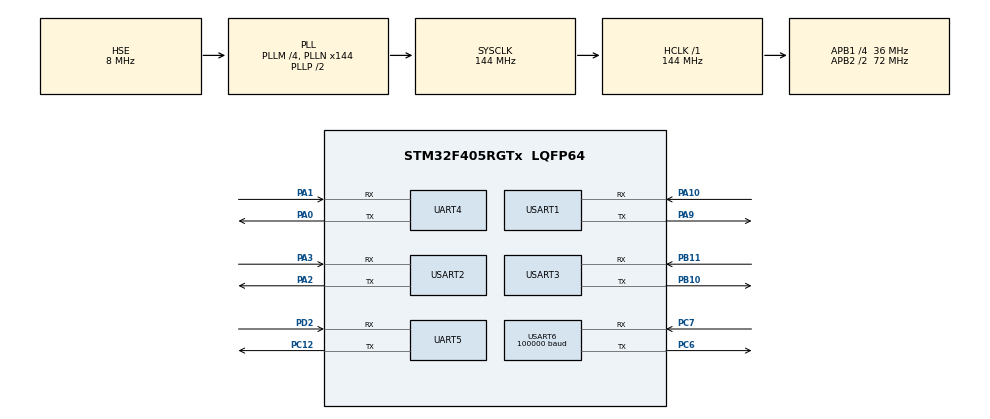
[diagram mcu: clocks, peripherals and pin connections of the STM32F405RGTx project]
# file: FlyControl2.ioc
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Dma.Request0=UART4_RX
Dma.Request1=UART4_TX
Dma.Request10=USART6_RX
Dma.Request11=USART6_TX
Dma.Request2=UART5_RX
Dma.Request3=UART5_TX
Dma.Request4=USART1_RX
Dma.Request5=USART1_TX
Dma.Request6=USART2_RX
Dma.Request7=USART2_TX
Dma.Request8=USART3_RX
Dma.Request9=USART3_TX
Dma.UART4_RX.0.Direction=DMA_PERIPH_TO_MEMORY
Dma.UART4_RX.0.FIFOMode=DMA_FIFOMODE_DISABLE
Dma.UART4_RX.0.Instance=DMA1_Stream2
Dma.UART4_RX.0.MemDataAlignment=DMA_MDATAALIGN_BYTE
Dma.UART4_RX.0.MemInc=DMA_MINC_ENABLE
Dma.UART4_RX.0.Mode=DMA_NORMAL
Dma.UART4_RX.0.PeriphDataAlignment=DMA_PDATAALIGN_BYTE
Dma.UART4_RX.0.PeriphInc=DMA_PINC_DISABLE
Dma.UART4_RX.0.Priority=DMA_PRIORITY_LOW
Dma.UART4_TX.1.Direction=DMA_MEMORY_TO_PERIPH
Dma.UART4_TX.1.FIFOMode=DMA_FIFOMODE_DISABLE
Dma.UART4_TX.1.Instance=DMA1_Stream4
Dma.UART4_TX.1.MemDataAlignment=DMA_MDATAALIGN_BYTE
Dma.UART4_TX.1.MemInc=DMA_MINC_ENABLE
Dma.UART4_TX.1.Mode=DMA_NORMAL
Dma.UART4_TX.1.PeriphDataAlignment=DMA_PDATAALIGN_BYTE
Dma.UART4_TX.1.PeriphInc=DMA_PINC_DISABLE
Dma.UART4_TX.1.Priority=DMA_PRIORITY_LOW
Dma.UART5_RX.2.Direction=DMA_PERIPH_TO_MEMORY
Dma.UART5_RX.2.FIFOMode=DMA_FIFOMODE_DISABLE
Dma.UART5_RX.2.Instance=DMA1_Stream0
Dma.UART5_RX.2.MemDataAlignment=DMA_MDATAALIGN_BYTE
Dma.UART5_RX.2.MemInc=DMA_MINC_ENABLE
Dma.UART5_RX.2.Mode=DMA_NORMAL
Dma.UART5_RX.2.PeriphDataAlignment=DMA_PDATAALIGN_BYTE
Dma.UART5_RX.2.PeriphInc=DMA_PINC_DISABLE
Dma.UART5_RX.2.Priority=DMA_PRIORITY_LOW
Dma.UART5_TX.3.Direction=DMA_MEMORY_TO_PERIPH
Dma.UART5_TX.3.FIFOMode=DMA_FIFOMODE_DISABLE
Dma.UART5_TX.3.Instance=DMA1_Stream7
Dma.UART5_TX.3.MemDataAlignment=DMA_MDATAALIGN_BYTE
Dma.UART5_TX.3.MemInc=DMA_MINC_ENABLE
Dma.UART5_TX.3.Mode=DMA_NORMAL
Dma.UART5_TX.3.PeriphDataAlignment=DMA_PDATAALIGN_BYTE
Dma.UART5_TX.3.PeriphInc=DMA_PINC_DISABLE
Dma.UART5_TX.3.Priority=DMA_PRIORITY_LOW
Dma.USART1_RX.4.Direction=DMA_PERIPH_TO_MEMORY
Dma.USART1_RX.4.FIFOMode=DMA_FIFOMODE_DISABLE
Dma.USART1_RX.4.Instance=DMA2_Stream2
Dma.USART1_RX.4.MemDataAlignment=DMA_MDATAALIGN_BYTE
Dma.USART1_RX.4.MemInc=DMA_MINC_ENABLE
Dma.USART1_RX.4.Mode=DMA_NORMAL
Dma.USART1_RX.4.PeriphDataAlignment=DMA_PDATAALIGN_BYTE
Dma.USART1_RX.4.PeriphInc=DMA_PINC_DISABLE
Dma.USART1_RX.4.Priority=DMA_PRIORITY_LOW
Dma.USART1_TX.5.Direction=DMA_MEMORY_TO_PERIPH
Dma.USART1_TX.5.FIFOMode=DMA_FIFOMODE_DISABLE
Dma.USART1_TX.5.Instance=DMA2_Stream7
Dma.USART1_TX.5.MemDataAlignment=DMA_MDATAALIGN_BYTE
Dma.USART1_TX.5.MemInc=DMA_MINC_ENABLE
Dma.USART1_TX.5.Mode=DMA_NORMAL
Dma.USART1_TX.5.PeriphDataAlignment=DMA_PDATAALIGN_BYTE
Dma.USART1_TX.5.PeriphInc=DMA_PINC_DISABLE
Dma.USART1_TX.5.Priority=DMA_PRIORITY_LOW
Dma.USART2_RX.6.Direction=DMA_PERIPH_TO_MEMORY
Dma.USART2_RX.6.FIFOMode=DMA_FIFOMODE_DISABLE
Dma.USART2_RX.6.Instance=DMA1_Stream5
Dma.USART2_RX.6.MemDataAlignment=DMA_MDATAALIGN_BYTE
Dma.USART2_RX.6.MemInc=DMA_MINC_ENABLE
Dma.USART2_RX.6.Mode=DMA_NORMAL
Dma.USART2_RX.6.PeriphDataAlignment=DMA_PDATAALIGN_BYTE
Dma.USART2_RX.6.PeriphInc=DMA_PINC_DISABLE
Dma.USART2_RX.6.Priority=DMA_PRIORITY_LOW
Dma.USART2_TX.7.Direction=DMA_MEMORY_TO_PERIPH
Dma.USART2_TX.7.FIFOMode=DMA_FIFOMODE_DISABLE
Dma.USART2_TX.7.Instance=DMA1_Stream6
Dma.USART2_TX.7.MemDataAlignment=DMA_MDATAALIGN_BYTE
Dma.USART2_TX.7.MemInc=DMA_MINC_ENABLE
Dma.USART2_TX.7.Mode=DMA_NORMAL
Dma.USART2_TX.7.PeriphDataAlignment=DMA_PDATAALIGN_BYTE
Dma.USART2_TX.7.PeriphInc=DMA_PINC_DISABLE
Dma.USART2_TX.7.Priority=DMA_PRIORITY_LOW
Dma.USART3_RX.8.Direction=DMA_PERIPH_TO_MEMORY
Dma.USART3_RX.8.FIFOMode=DMA_FIFOMODE_DISABLE
Dma.USART3_RX.8.Instance=DMA1_Stream1
Dma.USART3_RX.8.MemDataAlignment=DMA_MDATAALIGN_BYTE
Dma.USART3_RX.8.MemInc=DMA_MINC_ENABLE
Dma.USART3_RX.8.Mode=DMA_NORMAL
Dma.USART3_RX.8.PeriphDataAlignment=DMA_PDATAALIGN_BYTE
Dma.USART3_RX.8.PeriphInc=DMA_PINC_DISABLE
Dma.USART3_RX.8.Priority=DMA_PRIORITY_LOW
Dma.USART3_TX.9.Direction=DMA_MEMORY_TO_PERIPH
Dma.USART3_TX.9.FIFOMode=DMA_FIFOMODE_DISABLE
Dma.USART3_TX.9.Instance=DMA1_Stream3
Dma.USART3_TX.9.MemDataAlignment=DMA_MDATAALIGN_BYTE
Dma.USART3_TX.9.MemInc=DMA_MINC_ENABLE
Dma.USART3_TX.9.Mode=DMA_NORMAL
Dma.USART3_TX.9.PeriphDataAlignment=DMA_PDATAALIGN_BYTE
Dma.USART3_TX.9.PeriphInc=DMA_PINC_DISABLE
Dma.USART3_TX.9.Priority=DMA_PRIORITY_LOW
Dma.USART6_RX.10.Direction=DMA_PERIPH_TO_MEMORY
Dma.USART6_RX.10.FIFOMode=DMA_FIFOMODE_DISABLE
Dma.USART6_RX.10.Instance=DMA2_Stream1
Dma.USART6_RX.10.MemDataAlignment=DMA_MDATAALIGN_BYTE
Dma.USART6_RX.10.MemInc=DMA_MINC_ENABLE
Dma.USART6_RX.10.Mode=DMA_NORMAL
Dma.USART6_RX.10.PeriphDataAlignment=DMA_PDATAALIGN_BYTE
Dma.USART6_RX.10.PeriphInc=DMA_PINC_DISABLE
Dma.USART6_RX.10.Priority=DMA_PRIORITY_LOW
Dma.USART6_TX.11.Direction=DMA_MEMORY_TO_PERIPH
Dma.USART6_TX.11.FIFOMode=DMA_FIFOMODE_DISABLE
Dma.USART6_TX.11.Instance=DMA2_Stream6
Dma.USART6_TX.11.MemDataAlignment=DMA_MDATAALIGN_BYTE
Dma.USART6_TX.11.MemInc=DMA_MINC_ENABLE
Dma.USART6_TX.11.Mode=DMA_NORMAL
Dma.USART6_TX.11.PeriphDataAlignment=DMA_PDATAALIGN_BYTE
Dma.USART6_TX.11.PeriphInc=DMA_PINC_DISABLE
Dma.USART6_TX.11.Priority=DMA_PRIORITY_LOW
Mcu.Family=STM32F4
Mcu.Name=STM32F405RGTx
Mcu.Package=LQFP64
NVIC.DMA1_Stream0_IRQn=true\:0\:0\:false\:false\:true\:false\:true\:true
NVIC.DMA1_Stream1_IRQn=true\:0\:0\:false\:false\:true\:false\:true\:true
NVIC.DMA1_Stream2_IRQn=true\:0\:0\:false\:false\:true\:false\:true\:true
NVIC.DMA1_Stream3_IRQn=true\:0\:0\:false\:false\:true\:false\:true\:true
NVIC.DMA1_Stream4_IRQn=true\:0\:0\:false\:false\:true\:false\:true\:true
NVIC.DMA1_Stream5_IRQn=true\:0\:0\:false\:false\:true\:false\:true\:true
NVIC.DMA1_Stream6_IRQn=true\:0\:0\:false\:false\:true\:false\:true\:true
NVIC.DMA1_Stream7_IRQn=true\:0\:0\:false\:false\:true\:false\:true\:true
NVIC.DMA2_Stream1_IRQn=true\:0\:0\:false\:false\:true\:false\:true\:true
NVIC.DMA2_Stream2_IRQn=true\:0\:0\:false\:false\:true\:false\:true\:true
NVIC.DMA2_Stream6_IRQn=true\:0\:0\:false\:false\:true\:false\:true\:true
NVIC.DMA2_Stream7_IRQn=true\:0\:0\:false\:false\:true\:false\:true\:true
NVIC.PriorityGroup=NVIC_PRIORITYGROUP_2
NVIC.TIM1_UP_TIM10_IRQn=true\:1\:0\:true\:false\:true\:true\:true\:true
NVIC.UART4_IRQn=true\:0\:0\:false\:false\:true\:true\:true\:true
NVIC.UART5_IRQn=true\:0\:0\:false\:false\:true\:true\:true\:true
NVIC.USART1_IRQn=true\:0\:0\:false\:false\:true\:true\:true\:true
NVIC.USART2_IRQn=true\:0\:0\:false\:false\:true\:true\:true\:true
NVIC.USART3_IRQn=true\:0\:0\:false\:false\:true\:true\:true\:true
NVIC.USART6_IRQn=true\:0\:0\:false\:false\:true\:true\:true\:true
PA0-WKUP.Mode=Asynchronous
PA0-WKUP.Signal=UART4_TX
PA1.Mode=Asynchronous
PA1.Signal=UART4_RX
PA10.Mode=Asynchronous
PA10.Signal=USART1_RX
PA13.Mode=Serial_Wire
PA13.Signal=SYS_JTMS-SWDIO
PA14.Mode=Serial_Wire
PA14.Signal=SYS_JTCK-SWCLK
PA2.Mode=Asynchronous
PA2.Signal=USART2_TX
PA3.Mode=Asynchronous
PA3.Signal=USART2_RX
PA9.Mode=Asynchronous
PA9.Signal=USART1_TX
PB10.Mode=Asynchronous
PB10.Signal=USART3_TX
PB11.Mode=Asynchronous
PB11.Signal=USART3_RX
PC12.Mode=Asynchronous
PC12.Signal=UART5_TX
PC6.Mode=Asynchronous
PC6.Signal=USART6_TX
PC7.Mode=Asynchronous
PC7.Signal=USART6_RX
PD2.Mode=Asynchronous
PD2.Signal=UART5_RX
PH0-OSC_IN.Mode=HSE-External-Clock-Source
PH0-OSC_IN.Signal=RCC_OSC_IN
PH1-OSC_OUT.Mode=HSE-External-Clock-Source
PH1-OSC_OUT.Signal=RCC_OSC_OUT
ProjectManager.HeapSize=0x200
ProjectManager.StackSize=0x400
ProjectManager.TargetToolchain=MDK-ARM V5
RCC.48MHZClocksFreq_Value=72000000
RCC.AHBFreq_Value=144000000
RCC.APB1CLKDivider=RCC_HCLK_DIV4
RCC.APB1Freq_Value=36000000
RCC.APB1TimFreq_Value=72000000
RCC.APB2CLKDivider=RCC_HCLK_DIV2
RCC.APB2Freq_Value=72000000
RCC.APB2TimFreq_Value=144000000
RCC.CortexFreq_Value=144000000
RCC.HCLKFreq_Value=144000000
RCC.HSE_VALUE=8000000
RCC.HSI_VALUE=16000000
RCC.LSE_VALUE=32768
RCC.PLLM=4
RCC.PLLN=144
RCC.PLLSourceVirtual=RCC_PLLSOURCE_HSE
RCC.SYSCLKFreq_VALUE=144000000
RCC.SYSCLKSource=RCC_SYSCLKSOURCE_PLLCLK
RCC.VCOOutputFreq_Value=288000000
TIM1.Channel-PWM\ Generation1\ No\ Output=TIM_CHANNEL_1
TIM1.ClockDivision=TIM_CLOCKDIVISION_DIV1
TIM1.CounterMode=TIM_COUNTERMODE_UP
TIM1.Period=7199
TIM1.Prescaler=9
TIM1.RepetitionCounter=1
UART4.VirtualMode=Asynchronous
UART5.VirtualMode=Asynchronous
USART1.VirtualMode=VM_ASYNC
USART2.VirtualMode=VM_ASYNC
USART3.VirtualMode=VM_ASYNC
USART6.BaudRate=100000
USART6.Parity=PARITY_EVEN
USART6.StopBits=STOPBITS_2
USART6.VirtualMode=VM_ASYNC
USART6.WordLength=WORDLENGTH_9B
VP_TIM1_VS_ClockSourceINT.Mode=Internal
VP_TIM1_VS_no_output1.Mode=PWM Generation1 No Output
board=custom

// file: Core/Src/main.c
/* USER CODE BEGIN Header */
/**
  ******************************************************************************
  * @file           : main.c
  * @brief          : Main program body
  ******************************************************************************
  * @attention
  *
  * Copyright (c) 2024 STMicroelectronics.
  * All rights reserved.
  *
  * This software is licensed under terms that can be found in the LICENSE file
  * in the root directory of this software component.
  * If no LICENSE file comes with this software, it is provided AS-IS.
  *
  ******************************************************************************
  */
/* USER CODE END Header */
#include "main.h"

/* USER CODE BEGIN PM */
#include "com.h"
/* USER CODE END PM */

TIM_HandleTypeDef htim1;

UART_HandleTypeDef huart4;
UART_HandleTypeDef huart5;
UART_HandleTypeDef huart1;
UART_HandleTypeDef huart2;
UART_HandleTypeDef huart3;
UART_HandleTypeDef huart6;
DMA_HandleTypeDef hdma_uart4_rx;
DMA_HandleTypeDef hdma_uart4_tx;
DMA_HandleTypeDef hdma_uart5_rx;
DMA_HandleTypeDef hdma_uart5_tx;
DMA_HandleTypeDef hdma_usart1_rx;
DMA_HandleTypeDef hdma_usart1_tx;
DMA_HandleTypeDef hdma_usart2_rx;
DMA_HandleTypeDef hdma_usart2_tx;
DMA_HandleTypeDef hdma_usart3_rx;
DMA_HandleTypeDef hdma_usart3_tx;
DMA_HandleTypeDef hdma_usart6_rx;
DMA_HandleTypeDef hdma_usart6_tx;

void SystemClock_Config(void);
static void MX_GPIO_Init(void);
static void MX_DMA_Init(void);
static void MX_TIM1_Init(void);
static void MX_UART4_Init(void);
static void MX_UART5_Init(void);
static void MX_USART1_UART_Init(void);
static void MX_USART2_UART_Init(void);
static void MX_USART3_UART_Init(void);
static void MX_USART6_UART_Init(void);
/* USER CODE BEGIN PFP */
uint16_t Run_State = 0;
uint16_t Sys_timer = 0;
uint16_t Sys_timer2 = 0;

uint8_t Com_RxLen[7]  ={0,0,0,0,0,0,0};

uint8_t USART1_RX_BUF[16] ={0};
uint8_t USART2_RX_BUF[16] ={0};
uint8_t USART3_RX_BUF[11] ={0};
uint8_t USART4_RX_BUF[16] ={0};
uint8_t USART5_RX_BUF[16] ={0};
uint8_t USART6_RX_BUF[30] ={0};

extern void Analysis(void);
/* USER CODE END PFP */

int main(void)
{

  /* MCU Configuration--------------------------------------------------------*/

  /* Reset of all peripherals, Initializes the Flash interface and the Systick. */
  HAL_Init();

  /* Configure the system clock */
  SystemClock_Config();

  /* Initialize all configured peripherals */
  MX_GPIO_Init();
  MX_DMA_Init();
  MX_TIM1_Init();
  MX_UART4_Init();
  MX_UART5_Init();
  MX_USART1_UART_Init();
  MX_USART2_UART_Init();
  MX_USART3_UART_Init();
  MX_USART6_UART_Init();

  /* Infinite loop */
  /* USER CODE BEGIN WHILE */
  while (1)
  {
		if(Run_State == 1)	{
			Run_State = 0;

      if( Sys_timer2 == 50 )//5ms
      {
        ComTX()	;
      }
      if( Sys_timer2 >= 100 )//5ms
      {
        Sys_timer2 = 1 ;
        ComRX()	;
				Analysis();//遥控器数据解析
      }
    }
    /* USER CODE END WHILE */

  }
}

void SystemClock_Config(void)
{
  RCC_OscInitTypeDef RCC_OscInitStruct = {0};
  RCC_ClkInitTypeDef RCC_ClkInitStruct = {0};

  /** Configure the main internal regulator output voltage
  */
  __HAL_RCC_PWR_CLK_ENABLE();
  __HAL_PWR_VOLTAGESCALING_CONFIG(PWR_REGULATOR_VOLTAGE_SCALE1);

  /** Initializes the RCC Oscillators according to the specified parameters
  * in the RCC_OscInitTypeDef structure.
  */
  RCC_OscInitStruct.OscillatorType = RCC_OSCILLATORTYPE_HSE;
  RCC_OscInitStruct.HSEState = RCC_HSE_BYPASS;
  RCC_OscInitStruct.PLL.PLLState = RCC_PLL_ON;
  RCC_OscInitStruct.PLL.PLLSource = RCC_PLLSOURCE_HSE;
  RCC_OscInitStruct.PLL.PLLM = 4;
  RCC_OscInitStruct.PLL.PLLN = 144;
  RCC_OscInitStruct.PLL.PLLP = RCC_PLLP_DIV2;
  RCC_OscInitStruct.PLL.PLLQ = 4;
  if (HAL_RCC_OscConfig(&RCC_OscInitStruct) != HAL_OK)
  {
    Error_Handler();
  }

  /** Initializes the CPU, AHB and APB buses clocks
  */
  RCC_ClkInitStruct.ClockType = RCC_CLOCKTYPE_HCLK|RCC_CLOCKTYPE_SYSCLK
                              |RCC_CLOCKTYPE_PCLK1|RCC_CLOCKTYPE_PCLK2;
  RCC_ClkInitStruct.SYSCLKSource = RCC_SYSCLKSOURCE_PLLCLK;
  RCC_ClkInitStruct.AHBCLKDivider = RCC_SYSCLK_DIV1;
  RCC_ClkInitStruct.APB1CLKDivider = RCC_HCLK_DIV4;
  RCC_ClkInitStruct.APB2CLKDivider = RCC_HCLK_DIV2;

  if (HAL_RCC_ClockConfig(&RCC_ClkInitStruct, FLASH_LATENCY_4) != HAL_OK)
  {
    Error_Handler();
  }
}

static void MX_TIM1_Init(void)
{

  TIM_ClockConfigTypeDef sClockSourceConfig = {0};
  TIM_MasterConfigTypeDef sMasterConfig = {0};
  TIM_OC_InitTypeDef sConfigOC = {0};
  TIM_BreakDeadTimeConfigTypeDef sBreakDeadTimeConfig = {0};

  htim1.Instance = TIM1;
  htim1.Init.Prescaler = 9;
  htim1.Init.CounterMode = TIM_COUNTERMODE_UP;
  htim1.Init.Period = 7199;
  htim1.Init.ClockDivision = TIM_CLOCKDIVISION_DIV1;
  htim1.Init.RepetitionCounter = 1;
  htim1.Init.AutoReloadPreload = TIM_AUTORELOAD_PRELOAD_DISABLE;
  if (HAL_TIM_Base_Init(&htim1) != HAL_OK)
  {
    Error_Handler();
  }
  sClockSourceConfig.ClockSource = TIM_CLOCKSOURCE_INTERNAL;
  if (HAL_TIM_ConfigClockSource(&htim1, &sClockSourceConfig) != HAL_OK)
  {
    Error_Handler();
  }
  if (HAL_TIM_PWM_Init(&htim1) != HAL_OK)
  {
    Error_Handler();
  }
  sMasterConfig.MasterOutputTrigger = TIM_TRGO_RESET;
  sMasterConfig.MasterSlaveMode = TIM_MASTERSLAVEMODE_DISABLE;
  if (HAL_TIMEx_MasterConfigSynchronization(&htim1, &sMasterConfig) != HAL_OK)
  {
    Error_Handler();
  }
  sConfigOC.OCMode = TIM_OCMODE_PWM1;
  sConfigOC.Pulse = 0;
  sConfigOC.OCPolarity = TIM_OCPOLARITY_HIGH;
  sConfigOC.OCNPolarity = TIM_OCNPOLARITY_HIGH;
  sConfigOC.OCFastMode = TIM_OCFAST_DISABLE;
  sConfigOC.OCIdleState = TIM_OCIDLESTATE_RESET;
  sConfigOC.OCNIdleState = TIM_OCNIDLESTATE_RESET;
  if (HAL_TIM_PWM_ConfigChannel(&htim1, &sConfigOC, TIM_CHANNEL_1) != HAL_OK)
  {
    Error_Handler();
  }
  sBreakDeadTimeConfig.OffStateRunMode = TIM_OSSR_DISABLE;
  sBreakDeadTimeConfig.OffStateIDLEMode = TIM_OSSI_DISABLE;
  sBreakDeadTimeConfig.LockLevel = TIM_LOCKLEVEL_OFF;
  sBreakDeadTimeConfig.DeadTime = 0;
  sBreakDeadTimeConfig.BreakState = TIM_BREAK_DISABLE;
  sBreakDeadTimeConfig.BreakPolarity = TIM_BREAKPOLARITY_HIGH;
  sBreakDeadTimeConfig.AutomaticOutput = TIM_AUTOMATICOUTPUT_DISABLE;
  if (HAL_TIMEx_ConfigBreakDeadTime(&htim1, &sBreakDeadTimeConfig) != HAL_OK)
  {
    Error_Handler();
  }
  /* USER CODE BEGIN TIM1_Init 2 */
  HAL_TIM_PWM_Start(&htim1,TIM_CHANNEL_1);
	HAL_TIM_IC_Start_IT(&htim1,TIM_CHANNEL_1);
	__HAL_TIM_ENABLE_IT(&htim1,TIM_IT_UPDATE); //使能更新中断
  /* USER CODE END TIM1_Init 2 */

}

static void MX_UART4_Init(void)
{

  huart4.Instance = UART4;
  huart4.Init.BaudRate = 115200;
  huart4.Init.WordLength = UART_WORDLENGTH_8B;
  huart4.Init.StopBits = UART_STOPBITS_1;
  huart4.Init.Parity = UART_PARITY_NONE;
  huart4.Init.Mode = UART_MODE_TX_RX;
  huart4.Init.HwFlowCtl = UART_HWCONTROL_NONE;
  huart4.Init.OverSampling = UART_OVERSAMPLING_16;
  if (HAL_UART_Init(&huart4) != HAL_OK)
  {
    Error_Handler();
  }
  /* USER CODE BEGIN UART4_Init 2 */
	__HAL_UART_ENABLE_IT(&huart4, UART_IT_IDLE) ;
	HAL_UART_Receive_DMA(&huart4,USART4_RX_BUF,USART4_REC_LEN) ;
  /* USER CODE END UART4_Init 2 */

}

static void MX_UART5_Init(void)
{

  huart5.Instance = UART5;
  huart5.Init.BaudRate = 115200;
  huart5.Init.WordLength = UART_WORDLENGTH_8B;
  huart5.Init.StopBits = UART_STOPBITS_1;
  huart5.Init.Parity = UART_PARITY_NONE;
  huart5.Init.Mode = UART_MODE_TX_RX;
  huart5.Init.HwFlowCtl = UART_HWCONTROL_NONE;
  huart5.Init.OverSampling = UART_OVERSAMPLING_16;
  if (HAL_UART_Init(&huart5) != HAL_OK)
  {
    Error_Handler();
  }
  /* USER CODE BEGIN UART5_Init 2 */
	__HAL_UART_ENABLE_IT(&huart5, UART_IT_IDLE) ;
	HAL_UART_Receive_DMA(&huart5,USART5_RX_BUF,USART5_REC_LEN) ;
  /* USER CODE END UART5_Init 2 */

}

static void MX_USART1_UART_Init(void)
{

  huart1.Instance = USART1;
  huart1.Init.BaudRate = 115200;
  huart1.Init.WordLength = UART_WORDLENGTH_8B;
  huart1.Init.StopBits = UART_STOPBITS_1;
  huart1.Init.Parity = UART_PARITY_NONE;
  huart1.Init.Mode = UART_MODE_TX_RX;
  huart1.Init.HwFlowCtl = UART_HWCONTROL_NONE;
  huart1.Init.OverSampling = UART_OVERSAMPLING_16;
  if (HAL_UART_Init(&huart1) != HAL_OK)
  {
    Error_Handler();
  }
  /* USER CODE BEGIN USART1_Init 2 */
	__HAL_UART_ENABLE_IT(&huart1, UART_IT_IDLE) ;
	HAL_UART_Receive_DMA(&huart1,USART1_RX_BUF,USART1_REC_LEN) ;
  /* USER CODE END USART1_Init 2 */

}

static void MX_USART2_UART_Init(void)
{

  huart2.Instance = USART2;
  huart2.Init.BaudRate = 115200;
  huart2.Init.WordLength = UART_WORDLENGTH_8B;
  huart2.Init.StopBits = UART_STOPBITS_1;
  huart2.Init.Parity = UART_PARITY_NONE;
  huart2.Init.Mode = UART_MODE_TX_RX;
  huart2.Init.HwFlowCtl = UART_HWCONTROL_NONE;
  huart2.Init.OverSampling = UART_OVERSAMPLING_16;
  if (HAL_UART_Init(&huart2) != HAL_OK)
  {
    Error_Handler();
  }
  /* USER CODE BEGIN USART2_Init 2 */
	__HAL_UART_ENABLE_IT(&huart2, UART_IT_IDLE) ;
	HAL_UART_Receive_DMA(&huart2,USART2_RX_BUF,USART2_REC_LEN) ;
  /* USER CODE END USART2_Init 2 */

}

static void MX_USART3_UART_Init(void)
{

  huart3.Instance = USART3;
  huart3.Init.BaudRate = 115200;
  huart3.Init.WordLength = UART_WORDLENGTH_8B;
  huart3.Init.StopBits = UART_STOPBITS_1;
  huart3.Init.Parity = UART_PARITY_NONE;
  huart3.Init.Mode = UART_MODE_TX_RX;
  huart3.Init.HwFlowCtl = UART_HWCONTROL_NONE;
  huart3.Init.OverSampling = UART_OVERSAMPLING_16;
  if (HAL_UART_Init(&huart3) != HAL_OK)
  {
    Error_Handler();
  }
  /* USER CODE BEGIN USART3_Init 2 */
	__HAL_UART_ENABLE_IT(&huart3, UART_IT_IDLE) ;
	HAL_UART_Receive_DMA(&huart3,USART3_RX_BUF,USART3_REC_LEN) ;
  /* USER CODE END USART3_Init 2 */

}

static void MX_USART6_UART_Init(void)
{

  huart6.Instance = USART6;
  huart6.Init.BaudRate = 100000;
  huart6.Init.WordLength = UART_WORDLENGTH_9B;
  huart6.Init.StopBits = UART_STOPBITS_2;
  huart6.Init.Parity = UART_PARITY_EVEN;
  huart6.Init.Mode = UART_MODE_TX_RX;
  huart6.Init.HwFlowCtl = UART_HWCONTROL_NONE;
  huart6.Init.OverSampling = UART_OVERSAMPLING_16;
  if (HAL_UART_Init(&huart6) != HAL_OK)
  {
    Error_Handler();
  }
  /* USER CODE BEGIN USART6_Init 2 */
	__HAL_UART_ENABLE_IT(&huart6, UART_IT_IDLE);

	HAL_UART_Receive_DMA(&huart6,USART6_RX_BUF,USART6_REC_LEN);
  /* USER CODE END USART6_Init 2 */

}

static void MX_DMA_Init(void)
{

  /* DMA controller clock enable */
  __HAL_RCC_DMA1_CLK_ENABLE();
  __HAL_RCC_DMA2_CLK_ENABLE();

  /* DMA interrupt init */
  /* DMA1_Stream0_IRQn interrupt configuration */
  HAL_NVIC_SetPriority(DMA1_Stream0_IRQn, 0, 0);
  HAL_NVIC_EnableIRQ(DMA1_Stream0_IRQn);
  /* DMA1_Stream1_IRQn interrupt configuration */
  HAL_NVIC_SetPriority(DMA1_Stream1_IRQn, 0, 0);
  HAL_NVIC_EnableIRQ(DMA1_Stream1_IRQn);
  /* DMA1_Stream2_IRQn interrupt configuration */
  HAL_NVIC_SetPriority(DMA1_Stream2_IRQn, 0, 0);
  HAL_NVIC_EnableIRQ(DMA1_Stream2_IRQn);
  /* DMA1_Stream3_IRQn interrupt configuration */
  HAL_NVIC_SetPriority(DMA1_Stream3_IRQn, 0, 0);
  HAL_NVIC_EnableIRQ(DMA1_Stream3_IRQn);
  /* DMA1_Stream4_IRQn interrupt configuration */
  HAL_NVIC_SetPriority(DMA1_Stream4_IRQn, 0, 0);
  HAL_NVIC_EnableIRQ(DMA1_Stream4_IRQn);
  /* DMA1_Stream5_IRQn interrupt configuration */
  HAL_NVIC_SetPriority(DMA1_Stream5_IRQn, 0, 0);
  HAL_NVIC_EnableIRQ(DMA1_Stream5_IRQn);
  /* DMA1_Stream6_IRQn interrupt configuration */
  HAL_NVIC_SetPriority(DMA1_Stream6_IRQn, 0, 0);
  HAL_NVIC_EnableIRQ(DMA1_Stream6_IRQn);
  /* DMA1_Stream7_IRQn interrupt configuration */
  HAL_NVIC_SetPriority(DMA1_Stream7_IRQn, 0, 0);
  HAL_NVIC_EnableIRQ(DMA1_Stream7_IRQn);
  /* DMA2_Stream1_IRQn interrupt configuration */
  HAL_NVIC_SetPriority(DMA2_Stream1_IRQn, 0, 0);
  HAL_NVIC_EnableIRQ(DMA2_Stream1_IRQn);
  /* DMA2_Stream2_IRQn interrupt configuration */
  HAL_NVIC_SetPriority(DMA2_Stream2_IRQn, 0, 0);
  HAL_NVIC_EnableIRQ(DMA2_Stream2_IRQn);
  /* DMA2_Stream6_IRQn interrupt configuration */
  HAL_NVIC_SetPriority(DMA2_Stream6_IRQn, 0, 0);
  HAL_NVIC_EnableIRQ(DMA2_Stream6_IRQn);
  /* DMA2_Stream7_IRQn interrupt configuration */
  HAL_NVIC_SetPriority(DMA2_Stream7_IRQn, 0, 0);
  HAL_NVIC_EnableIRQ(DMA2_Stream7_IRQn);

}

static void MX_GPIO_Init(void)
{

  /* GPIO Ports Clock Enable */
  __HAL_RCC_GPIOH_CLK_ENABLE();
  __HAL_RCC_GPIOA_CLK_ENABLE();
  __HAL_RCC_GPIOB_CLK_ENABLE();
  __HAL_RCC_GPIOC_CLK_ENABLE();
  __HAL_RCC_GPIOD_CLK_ENABLE();

}

void Error_Handler(void)
{
  __disable_irq();
  while (1)
  {
  }
}
